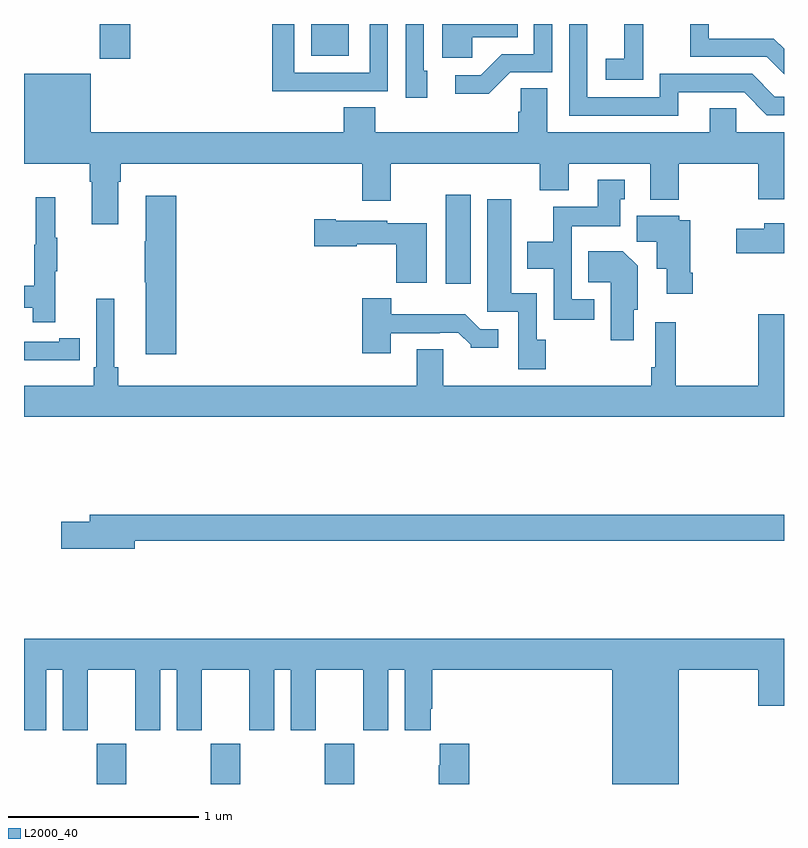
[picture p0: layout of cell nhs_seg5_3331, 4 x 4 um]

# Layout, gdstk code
import gdstk
lib = gdstk.Library(unit=1e-6, precision=1e-09)
def R(c, l, rs):  # rectangles x0, y0, x1, y1
    for r in rs: c.add(gdstk.rectangle(r[:2], r[2:], *l))
def A(c, l, x, y, w, h, nx, ny, dx, dy):  # array of equal rectangles
    R(c, l, [(x+i*dx, y+j*dy, x+i*dx+w, y+j*dy+h) for i in range(nx) for j in range(ny)])
def P(c, l, *ps):  # polygons
    for p in ps: c.add(gdstk.Polygon(p, *l))
L2000_40 = (2000, 40)

nhs_seg5_3331 = lib.new_cell('nhs_seg5_3331')
A(nhs_seg5_3331, L2000_40, 305.383, 882.799, 0.155, 0.213, 3, 1, 0.6, 0)
R(nhs_seg5_3331, L2000_40, [(307.22,885.432,307.351,885.901), (305.398,886.617,305.558,886.799), (306.512,886.631,306.709,886.799)])
P(nhs_seg5_3331, L2000_40, [(307.56,886.545),(307.779,886.545),(307.779,886.799),(307.683,886.799),(307.683,886.641),(307.514,886.641),(307.403,886.53),(307.269,886.53),(307.269,886.433),(307.447,886.433)],
  [(308.259,886.711),(308.258,886.711),(308.258,886.799),(308.159,886.799),(308.159,886.615),(308.061,886.615),(308.061,886.505),(308.259,886.505)],
  [(307.123,886.554),(307.104,886.554),(307.104,886.799),(307.008,886.799),(307.008,886.41),(307.123,886.41)],
  [(308.443,886.44),(308.79,886.44),(308.91,886.32),(309,886.32),(309,886.416),(308.952,886.416),(308.832,886.536),(308.346,886.536),(308.346,886.413),(307.965,886.413),(307.965,886.799),(307.869,886.799),(307.869,886.317),(308.443,886.317)],
  [(309,886.668),(308.946,886.722),(308.604,886.722),(308.604,886.799),(308.506,886.799),(308.506,886.626),(308.909,886.626),(309,886.535)],
  [(306.599,886.446),(306.915,886.446),(306.915,886.799),(306.819,886.799),(306.819,886.542),(306.423,886.542),(306.423,886.799),(306.307,886.799),(306.307,886.445),(306.599,886.445)],
  [(307.359,886.73),(307.598,886.73),(307.598,886.799),(307.202,886.799),(307.202,886.622),(307.359,886.622)],
  [(305.497,885.968),(305.51,885.968),(305.51,886.064),(306.779,886.064),(306.779,885.87),(306.931,885.87),(306.931,886.064),(307.715,886.064),(307.715,885.923),(307.867,885.923),(307.867,886.064),(308.297,886.064),(308.297,885.875),(308.445,885.875),(308.445,886.064),(308.864,886.064),(308.864,885.876),(309,885.876),(309,886.228),(308.748,886.228),(308.748,886.355),(308.609,886.355),(308.609,886.228),(307.753,886.228),(307.753,886.46),(307.614,886.46),(307.614,886.337),(307.601,886.337),(307.601,886.228),(306.848,886.228),(306.848,886.361),(306.683,886.361),(306.683,886.228),(305.35,886.228),(305.35,886.537),(305,886.537),(305,886.064),(305.345,886.064),(305.345,885.968),(305.357,885.968),(305.357,885.744),(305.497,885.744)],
  [(308.002,885.351),(307.884,885.351),(307.884,885.734),(308.137,885.734),(308.137,885.876),(308.161,885.876),(308.161,885.979),(308.021,885.979),(308.021,885.838),(307.786,885.838),(307.786,885.652),(307.649,885.652),(307.649,885.512),(307.788,885.512),(307.788,885.243),(308.002,885.243)],
  [(305.801,885.895),(305.642,885.895),(305.642,885.656),(305.635,885.656),(305.635,885.439),(305.642,885.439),(305.642,885.06),(305.801,885.06)],
  [(305.165,885.499),(305.176,885.499),(305.176,885.673),(305.165,885.673),(305.165,885.886),(305.062,885.886),(305.062,885.636),(305.055,885.636),(305.055,885.422),(305,885.422),(305,885.306),(305.047,885.306),(305.047,885.228),(305.165,885.228)],
  [(307.746,885.138),(307.698,885.138),(307.698,885.382),(307.564,885.382),(307.564,885.877),(307.439,885.877),(307.439,885.285),(307.602,885.285),(307.602,884.982),(307.746,884.982)],
  [(308.519,885.49),(308.506,885.49),(308.506,885.766),(308.448,885.766),(308.448,885.79),(308.225,885.79),(308.225,885.652),(308.33,885.652),(308.33,885.512),(308.384,885.512),(308.384,885.378),(308.519,885.378)],
  [(307.12,885.751),(306.912,885.751),(306.912,885.763),(306.64,885.763),(306.64,885.771),(306.528,885.771),(306.528,885.629),(306.75,885.629),(306.75,885.641),(306.958,885.641),(306.958,885.437),(307.12,885.437)],
  [(309,885.75),(308.897,885.75),(308.897,885.721),(308.748,885.721),(308.748,885.592),(309,885.592)],
  [(308.209,885.294),(308.23,885.294),(308.23,885.526),(308.152,885.604),(307.969,885.604),(307.969,885.44),(308.087,885.44),(308.087,885.135),(308.209,885.135)],
  [(306.931,885.171),(307.187,885.171),(307.187,885.174),(307.286,885.174),(307.35,885.11),(307.35,885.095),(307.495,885.095),(307.495,885.192),(307.401,885.192),(307.323,885.271),(306.934,885.271),(306.934,885.355),(306.779,885.355),(306.779,885.066),(306.931,885.066)],
  [(309,885.271),(308.864,885.271),(308.864,884.896),(308.431,884.896),(308.431,885.229),(308.322,885.229),(308.322,884.992),(308.302,884.992),(308.302,884.896),(307.207,884.896),(307.207,885.086),(307.067,885.086),(307.067,884.896),(305.495,884.896),(305.495,884.992),(305.476,884.992),(305.476,885.352),(305.379,885.352),(305.379,884.992),(305.366,884.992),(305.366,884.896),(305,884.896),(305,884.732),(309,884.732)],
  [(305.186,885.03),(305.294,885.03),(305.294,885.146),(305.186,885.146),(305.186,885.126),(305,885.126),(305,885.029),(305.186,885.029)],
  [(305.584,884.08),(309,884.08),(309,884.216),(305.345,884.216),(305.345,884.18),(305.196,884.18),(305.196,884.038),(305.584,884.038)],
  [(308.446,883.4),(308.864,883.4),(308.864,883.212),(309,883.212),(309,883.564),(305,883.564),(305,883.083),(305.116,883.083),(305.116,883.4),(305.204,883.4),(305.204,883.083),(305.335,883.083),(305.335,883.4),(305.585,883.4),(305.585,883.083),(305.716,883.083),(305.716,883.4),(305.804,883.4),(305.804,883.083),(305.935,883.083),(305.935,883.4),(306.185,883.4),(306.185,883.083),(306.316,883.083),(306.316,883.4),(306.404,883.4),(306.404,883.083),(306.535,883.083),(306.535,883.4),(306.785,883.4),(306.785,883.083),(306.916,883.083),(306.916,883.4),(307.004,883.4),(307.004,883.083),(307.141,883.083),(307.141,883.195),(307.148,883.195),(307.148,883.4),(308.096,883.4),(308.096,882.799),(308.446,882.799)],
  [(307.343,883.012),(307.187,883.012),(307.187,882.899),(307.183,882.899),(307.183,882.799),(307.343,882.799)])

lib.write_gds('nhs_seg5_3331.gds')
